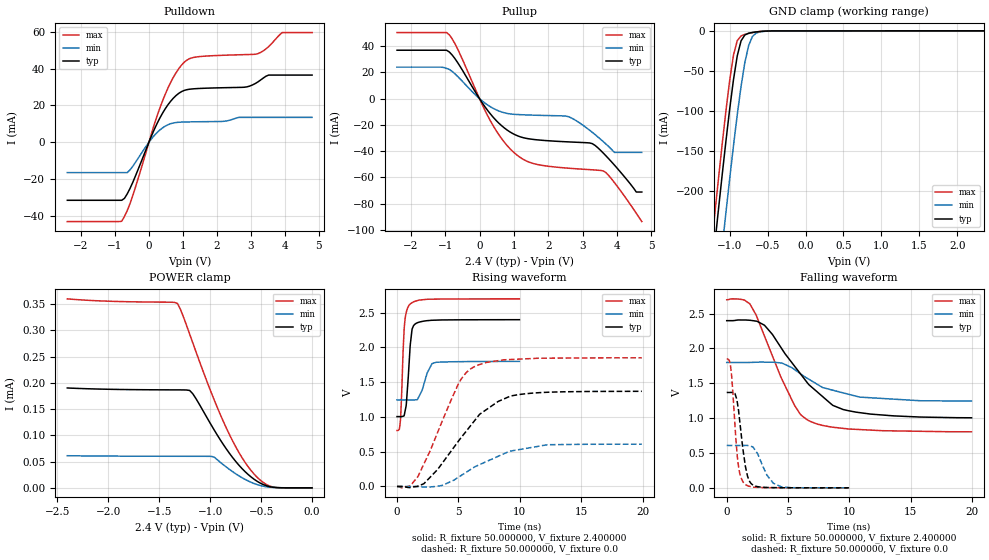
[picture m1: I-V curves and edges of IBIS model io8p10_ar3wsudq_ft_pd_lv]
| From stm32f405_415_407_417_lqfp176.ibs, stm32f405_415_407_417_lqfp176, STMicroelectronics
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|   Model io8p10_ar3wsudq_ft_pd_lv
[Model]  io8p10_ar3wsudq_ft_pd_lv
Model_type I/O
Polarity   Non-Inverting
Enable   Active-Low
Vinl =   0.720000V
Vinh =   1.680000V
Vmeas =  1.200000V
Cref =   40.000000pF
Rref =   100.000000M
Vref =   0.0V
C_comp   3.720900pF   3.684200pF   3.822900pF
[Temperature Range]   25.000000   0.125000k   -40.000000
[Pullup Reference]   2.400000V   1.800000V   2.700000V
[Pulldown Reference]   0.0V   0.0V   0.0V
[POWER Clamp Reference]   2.400000V   1.800000V   2.700000V
[GND Clamp Reference]   0.0V   0.0V   0.0V
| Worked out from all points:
|   slope of the pulldown table from 0 to 0.36 V, typ, clamps not added: 25 ohm
|   slope of the pullup table from 0 to 0.36 V, typ, clamps not added: 27.7 ohm
|   GND clamp passes 1 mA (typ) near -0.62 V on its own axis
|   rising waveform, R_fixture 50.000000, V_fixture 2.400000: 20-80 % time 334ps typ, 653ps min, 263ps max; typ from 1 V to 2.4 V
|   rising waveform, R_fixture 50.000000, V_fixture 0.0: 20-80 % time 3.76ns typ, 4ns min, 2.7ns max; typ from 0 V to 1.37 V
|   falling waveform, R_fixture 50.000000, V_fixture 2.400000: 20-80 % time 3.96ns typ, 4.04ns min, 2.77ns max; typ from 2.4 V to 1 V
|   falling waveform, R_fixture 50.000000, V_fixture 0.0: 20-80 % time 590ps typ, 1.03ns min, 462ps max; typ from 1.37 V to 0 V
[Pulldown]
|Voltage   I(typ)   I(min)   I(max)
-2.4V     -31.47mA   -16.45mA   -43.01mA
-800mV    -31.47mA   -16.45mA   -42.85mA
-480mV    -21.98mA   -13.17mA   -29.2mA
80mV      3.63mA     1.966mA    5.014mA
480mV     18.15mA    8.738mA    26.02mA
800mV     25.38mA    10.72mA    37.77mA
1.12V     28.53mA    11.02mA    44.6mA
2.8V      29.84mA    13.51mA    47.53mA
3.2V      32.66mA    13.51mA    48.04mA
3.52V     36.44mA    13.51mA    51.84mA
3.92V     36.44mA    13.51mA    59.49mA
4.8V      36.44mA    13.51mA    59.49mA
[Pullup]
|Voltage   I(typ)   I(min)   I(max)
-2.4V     36.91mA    24.03mA    50.36mA
-960mV    36.91mA    23.05mA    50.36mA
-640mV    27.65mA    17.04mA    37.98mA
320mV     -11.75mA   -6.207mA   -17.08mA
960mV     -26.47mA   -11.82mA   -40.02mA
1.52V     -30.88mA   -12.51mA   -49.05mA
2.56V     -32.88mA   -13.52mA   -52.9mA
3.28V     -34.25mA   -25.64mA   -54.18mA
3.6V      -41.44mA   -32.74mA   -55.03mA
3.92V     -50.46mA   -40.9mA    -63.79mA
4.56V     -71.1mA    -40.9mA    -87.27mA
4.72V     -71.1mA    -40.9mA    -93.6mA
[GND_clamp]
|Voltage   I(typ)   I(min)   I(max)
-2.4V     -1.429A    -1.514A    -1.399A
-1.25V    -315.9mA   -407.2mA   -278.2mA
-1.2V     -270.1mA   -361.3mA   -232.1mA
-1.15V    -225mA     -316mA     -186.8mA
-1.1V     -180.9mA   -271.3mA   -142.7mA
-1.05V    -138.2mA   -227.5mA   -100.5mA
-950mV    -61.14mA   -143.6mA   -30.44mA
-900mV    -31.24mA   -104.7mA   -12.15mA
-850mV    -12.5mA    -69.41mA   -6.236mA
-750mV    -2.91mA    -18.35mA   -3.195mA
-600mV    -761.5uA   -1.227mA   -751.9uA
2.35V     58.09uA    37.93uA    67.25uA
[POWER_clamp]
|Voltage   I(typ)   I(min)   I(max)
-2.4V     190.2uA    61.19uA    359.9uA
-1.32V    186.6uA    60.14uA    351.2uA
-1.29V    186.5uA    60.13uA    339.6uA
-1.2V     185.4uA    60.11uA    292.6uA
-1.17V    179.2uA    60.11uA    276.3uA
-960mV    110.2uA    58.62uA    167.5uA
-870mV    82.44uA    43.99uA    126.3uA
-750mV    50.58uA    26.92uA    78.64uA
-630mV    25.94uA    13.41uA    41.02uA
-510mV    9.22uA     4.527uA    14.97uA
-420mV    2.425uA    1.38uA     3.75uA
0V        0A         0A         0A
[Ramp]
| variable   typ   min   max
dV/dt_r  0.82140/3.76061n   0.36532/4.00428n   1.11270/2.70280n
dV/dt_f  0.83334/3.95761n   0.33270/4.10622n   1.13610/2.77089n
R_load = 50.000000
[Rising Waveform]
R_fixture= 50.000000
V_fixture= 2.400000
V_fixture_min= 1.800000
V_fixture_max= 2.700000
|time   V(typ)   V(min)   V(max)
0s        1.005V     1.245V     804.4mV
200.2ps   1.005V     1.245V     830mV
280.3ps   1.005V     1.245V     951.6mV
580.6ps   1.018V     1.246V     2.261V
760.8ps   1.192V     1.246V     2.509V
1.021ns   1.879V     1.245V     2.615V
1.241ns   2.27V      1.245V     2.645V
1.762ns   2.361V     1.285V     2.679V
2.863ns   2.391V     1.768V     2.694V
9.97ns    2.399V     1.799V     2.698V
[Rising Waveform]
R_fixture= 50.000000
V_fixture= 0.0
V_fixture_min= 0.0
V_fixture_max= 0.0
|time   V(typ)   V(min)   V(max)
0s        159.7uV    64.35uV    111.4uV
1.081ns   -14.22mV   123.7uV    11.6mV
1.682ns   3.873mV    -934.1uV   138.3mV
3.283ns   240mV      2.913mV    767.5mV
5.005ns   652.9mV    133.3mV    1.478V
6.286ns   939.9mV    277.9mV    1.722V
8.248ns   1.224V     434.7mV    1.81V
9.57ns    1.311V     518.9mV    1.829V
12.25ns   1.355V     600.4mV    1.845V
19.94ns   1.369V     608.4mV    1.85V
[Falling Waveform]
R_fixture= 50.000000
V_fixture= 2.400000
V_fixture_min= 1.800000
V_fixture_max= 2.700000
|time   V(typ)   V(min)   V(max)
0s        2.399V     1.799V     2.698V
1.401ns   2.408V     1.799V     2.697V
1.882ns   2.405V     1.8V       2.641V
3.083ns   2.332V     1.804V     2.174V
4.484ns   1.996V     1.792V     1.563V
5.526ns   1.746V     1.697V     1.183V
6.647ns   1.489V     1.563V     967.6mV
8.649ns   1.183V     1.401V     869.8mV
9.85ns    1.109V     1.346V     846.3mV
19.94ns   1.005V     1.245V     804.4mV
[Falling Waveform]
R_fixture= 50.000000
V_fixture= 0.0
V_fixture_min= 0.0
V_fixture_max= 0.0
|time   V(typ)   V(min)   V(max)
0s        1.369V     608.4mV    1.85V
320.3ps   1.369V     608.4mV    1.735V
820.8ps   1.27V      608.2mV    538.9mV
1.061ns   954.1mV    608mV      207.2mV
1.421ns   429.6mV    608.6mV    63.62mV
1.702ns   163mV      608mV      29.62mV
2.062ns   50.38mV    591.2mV    14.09mV
3.283ns   5.229mV    180.2mV    2.415mV
4.464ns   1.649mV    13.82mV    914uV
9.97ns    159.7uV    64.35uV    111.4uV
